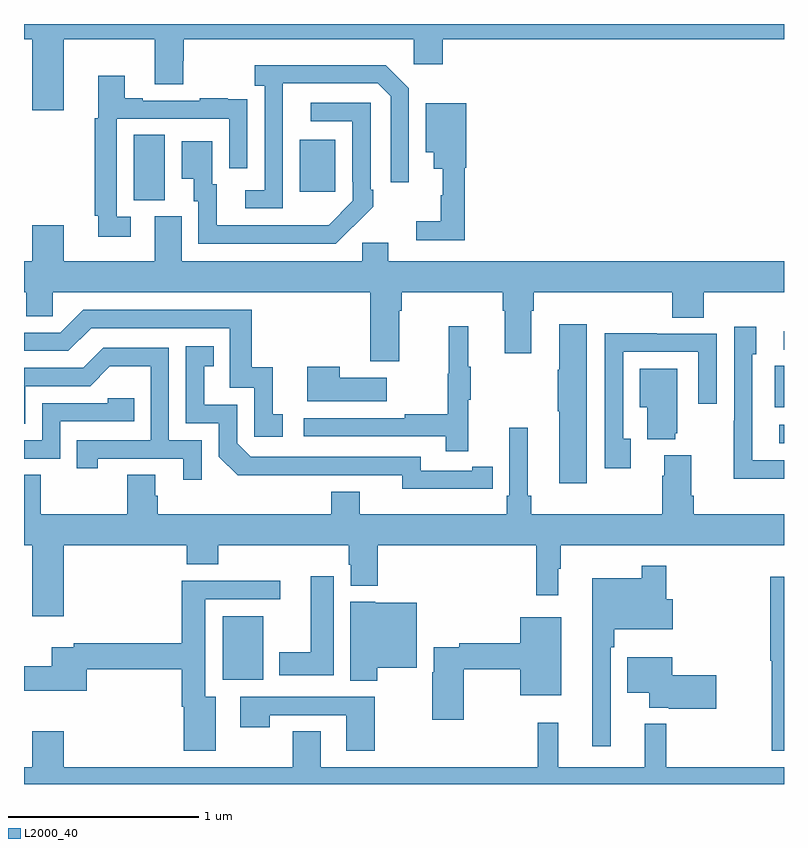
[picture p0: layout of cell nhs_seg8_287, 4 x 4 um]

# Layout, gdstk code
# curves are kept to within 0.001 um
import gdstk
lib = gdstk.Library(unit=1e-6, precision=1e-09)
def R(c, l, rs):  # rectangles x0, y0, x1, y1
    for r in rs: c.add(gdstk.rectangle(r[:2], r[2:], *l))
def P(c, l, *ps):  # polygons
    for p in ps: c.add(gdstk.Polygon(p, *l))
L2000_40 = (2000, 40)

nhs_seg8_287 = lib.new_cell('nhs_seg8_287')
R(nhs_seg8_287, L2000_40, [(130.046,1126.448,130.258,1126.783), (132.975,1127.694,133,1127.79), (132.95,1127.882,133,1128.101), (132.999,1128.186,133,1128.284), (129.578,1128.973,129.742,1129.316), (130.451,1129.017,130.639,1129.291)])
P(nhs_seg8_287, L2000_40, [(129.208,1129.82),(129.689,1129.82),(129.689,1129.582),(129.837,1129.582),(129.837,1129.707),(129.842,1129.707),(129.842,1129.82),(131.052,1129.82),(131.052,1129.689),(131.204,1129.689),(131.204,1129.82),(133,1129.82),(133,1129.9),(129,1129.9),(129,1129.82),(129.044,1129.82),(129.044,1129.446),(129.208,1129.446)],
  [(130.362,1129.387),(130.363,1129.587),(130.863,1129.587),(130.929,1129.521),(130.929,1129.068),(131.025,1129.068),(131.025,1129.563),(130.904,1129.684),(130.215,1129.684),(130.215,1129.574),(130.266,1129.574),(130.266,1129.026),(130.164,1129.026),(130.164,1128.93),(130.362,1128.93)],
  [(129.562,1128.885),(129.489,1128.885),(129.489,1129.401),(130.08,1129.401),(130.08,1129.14),(130.176,1129.14),(130.176,1129.394),(130.175,1129.394),(130.175,1129.503),(130.073,1129.503),(130.073,1129.51),(129.925,1129.51),(129.925,1129.497),(129.625,1129.497),(129.625,1129.51),(129.529,1129.51),(129.529,1129.627),(129.392,1129.627),(129.392,1129.404),(129.373,1129.404),(129.373,1128.892),(129.392,1128.892),(129.392,1128.78),(129.562,1128.78)],
  [(130.733,1128.835),(130.734,1128.834),(130.839,1128.939),(130.839,1129.027),(130.824,1129.027),(130.824,1129.485),(130.509,1129.485),(130.509,1129.389),(130.728,1129.389),(130.728,1129.069),(130.731,1129.069),(130.731,1128.969),(130.603,1128.841),(130.015,1128.84),(130.015,1129.056),(129.991,1129.056),(129.991,1129.282),(129.83,1129.282),(129.83,1129.085),(129.893,1129.085),(129.893,1128.966),(129.918,1128.966),(129.918,1128.744),(130.642,1128.744)],
  [(131.321,1129.143),(131.327,1129.143),(131.327,1129.483),(131.114,1129.483),(131.114,1129.226),(131.156,1129.226),(131.156,1129.139),(131.204,1129.139),(131.204,1128.999),(131.193,1128.999),(131.193,1128.863),(131.064,1128.863),(131.064,1128.762),(131.321,1128.762)],
  [(130.975,1128.392),(130.988,1128.392),(130.988,1128.488),(131.519,1128.488),(131.519,1128.392),(131.531,1128.392),(131.531,1128.168),(131.671,1128.168),(131.671,1128.392),(131.684,1128.392),(131.684,1128.488),(132.413,1128.488),(132.413,1128.355),(132.578,1128.355),(132.578,1128.488),(133,1128.488),(133,1128.652),(130.918,1128.652),(130.918,1128.75),(130.779,1128.75),(130.779,1128.652),(129.829,1128.652),(129.829,1128.888),(129.689,1128.888),(129.689,1128.652),(129.208,1128.652),(129.208,1128.841),(129.044,1128.841),(129.044,1128.652),(129,1128.652),(129,1128.488),(129.011,1128.488),(129.011,1128.361),(129.15,1128.361),(129.15,1128.488),(130.823,1128.488),(130.823,1128.126),(130.975,1128.126)],
  [(130.363,1127.847),(130.31,1127.847),(130.31,1128.094),(130.199,1128.094),(130.199,1128.396),(129.312,1128.396),(129.192,1128.276),(129,1128.276),(129,1128.18),(129.234,1128.18),(129.354,1128.3),(130.083,1128.3),(130.083,1127.985),(130.212,1127.985),(130.212,1127.727),(130.363,1127.727)],
  [(131.962,1128.319),(131.816,1128.319),(131.816,1128.08),(131.809,1128.08),(131.809,1127.863),(131.816,1127.863),(131.816,1127.484),(131.962,1127.484)],
  [(131.339,1127.923),(131.35,1127.923),(131.35,1128.097),(131.339,1128.097),(131.339,1128.31),(131.236,1128.31),(131.236,1128.06),(131.229,1128.06),(131.229,1127.846),(131.005,1127.846),(131.005,1127.826),(130.473,1127.826),(130.473,1127.73),(131.221,1127.73),(131.221,1127.652),(131.339,1127.652)],
  [(133,1127.604),(132.834,1127.604),(132.834,1128.162),(132.853,1128.162),(132.853,1128.307),(132.738,1128.307),(132.738,1127.813),(132.736,1127.813),(132.736,1127.507),(133,1127.507)],
  [(132.193,1127.718),(132.153,1127.718),(132.153,1128.174),(132.549,1128.174),(132.549,1127.901),(132.645,1127.901),(132.645,1128.27),(132.329,1128.27),(132.329,1128.272),(132.057,1128.272),(132.057,1127.562),(132.193,1127.562)],
  [(131.36,1127.454),(131.468,1127.454),(131.468,1127.57),(131.36,1127.57),(131.36,1127.55),(131.088,1127.55),(131.088,1127.622),(130.194,1127.622),(130.122,1127.694),(130.122,1127.895),(129.949,1127.895),(129.949,1128.099),(129.998,1128.099),(129.998,1128.205),(129.852,1128.205),(129.852,1127.799),(130.026,1127.799),(130.026,1127.622),(130.124,1127.525),(130.992,1127.526),(130.992,1127.453)],
  [(129.936,1127.709),(129.762,1127.709),(129.762,1128.195),(129.416,1128.195),(129.311,1128.09),(129,1128.09),(129,1127.796),(129.006,1127.796),(129.006,1127.994),(129.348,1127.994),(129.452,1128.098),(129.666,1128.098),(129.666,1127.709),(129.277,1127.709),(129.277,1127.562),(129.388,1127.562),(129.388,1127.613),(129.839,1127.613),(129.839,1127.502),(129.936,1127.502)],
  [(130.909,1128.037),(130.661,1128.037),(130.661,1128.097),(130.49,1128.097),(130.49,1127.915),(130.909,1127.915)],
  [(132.428,1127.745),(132.439,1127.745),(132.439,1128.085),(132.242,1128.085),(132.242,1127.882),(132.281,1127.882),(132.281,1127.714),(132.428,1127.714)],
  [(129.192,1127.808),(129.581,1127.808),(129.581,1127.931),(129.441,1127.931),(129.441,1127.904),(129.096,1127.904),(129.096,1127.709),(129,1127.709),(129,1127.613),(129.192,1127.613)],
  [(129.208,1127.156),(129.857,1127.156),(129.857,1127.057),(130.022,1127.057),(130.022,1127.156),(130.709,1127.156),(130.709,1127.055),(130.721,1127.055),(130.721,1126.943),(130.862,1126.943),(130.862,1127.156),(131.695,1127.156),(131.695,1126.893),(131.812,1126.893),(131.812,1127.033),(131.824,1127.033),(131.824,1127.156),(133,1127.156),(133,1127.32),(132.524,1127.32),(132.524,1127.416),(132.511,1127.416),(132.511,1127.629),(132.371,1127.629),(132.371,1127.522),(132.359,1127.522),(132.359,1127.32),(131.669,1127.32),(131.669,1127.416),(131.65,1127.416),(131.65,1127.776),(131.553,1127.776),(131.553,1127.416),(131.54,1127.416),(131.54,1127.32),(130.768,1127.32),(130.768,1127.437),(130.616,1127.437),(130.616,1127.32),(129.704,1127.32),(129.704,1127.418),(129.691,1127.418),(129.691,1127.528),(129.544,1127.528),(129.544,1127.32),(129.087,1127.32),(129.087,1127.528),(129,1127.528),(129,1127.156),(129.044,1127.156),(129.044,1126.782),(129.208,1126.782)],
  [(132.087,1126.619),(132.107,1126.619),(132.107,1126.715),(132.415,1126.715),(132.415,1126.873),(132.38,1126.873),(132.38,1127.05),(132.252,1127.05),(132.252,1126.984),(131.99,1126.984),(131.99,1126.098),(132.087,1126.098)],
  [(130.63,1126.993),(130.508,1126.993),(130.508,1126.594),(130.343,1126.594),(130.343,1126.472),(130.63,1126.472)],
  [(133,1126.99),(132.928,1126.99),(132.928,1126.55),(132.935,1126.55),(132.935,1126.074),(133,1126.074)],
  [(130.009,1126.36),(129.955,1126.36),(129.955,1126.872),(130.348,1126.872),(130.348,1126.97),(129.83,1126.97),(129.83,1126.64),(129.262,1126.64),(129.262,1126.62),(129.146,1126.62),(129.146,1126.52),(129,1126.52),(129,1126.391),(129.329,1126.391),(129.329,1126.504),(129.83,1126.504),(129.83,1126.307),(129.842,1126.307),(129.842,1126.074),(130.009,1126.074)],
  [(130.86,1126.511),(131.068,1126.511),(131.068,1126.855),(130.848,1126.855),(130.848,1126.858),(130.718,1126.858),(130.718,1126.444),(130.86,1126.444)],
  [(131.314,1126.504),(131.612,1126.504),(131.612,1126.367),(131.827,1126.367),(131.827,1126.777),(131.612,1126.777),(131.612,1126.64),(131.29,1126.64),(131.29,1126.62),(131.156,1126.62),(131.156,1126.487),(131.149,1126.487),(131.149,1126.239),(131.314,1126.239)],
  [(132.643,1126.472),(132.412,1126.472),(132.412,1126.567),(132.176,1126.567),(132.176,1126.379),(132.29,1126.379),(132.29,1126.301),(132.394,1126.301),(132.394,1126.296),(132.643,1126.296)],
  [(130.845,1126.359),(130.137,1126.359),(130.137,1126.2),(130.293,1126.2),(130.293,1126.263),(130.697,1126.263),(130.697,1126.074),(130.845,1126.074)],
  [(133,1125.988),(132.379,1125.988),(132.379,1126.216),(132.266,1126.216),(132.266,1125.988),(131.813,1125.988),(131.813,1126.222),(131.703,1126.222),(131.703,1125.988),(130.561,1125.988),(130.561,1126.178),(130.414,1126.178),(130.414,1125.988),(129.208,1125.988),(129.208,1126.177),(129.044,1126.177),(129.044,1125.988),(129,1125.988),(129,1125.9),(133,1125.9)])

lib.write_gds('nhs_seg8_287.gds')
